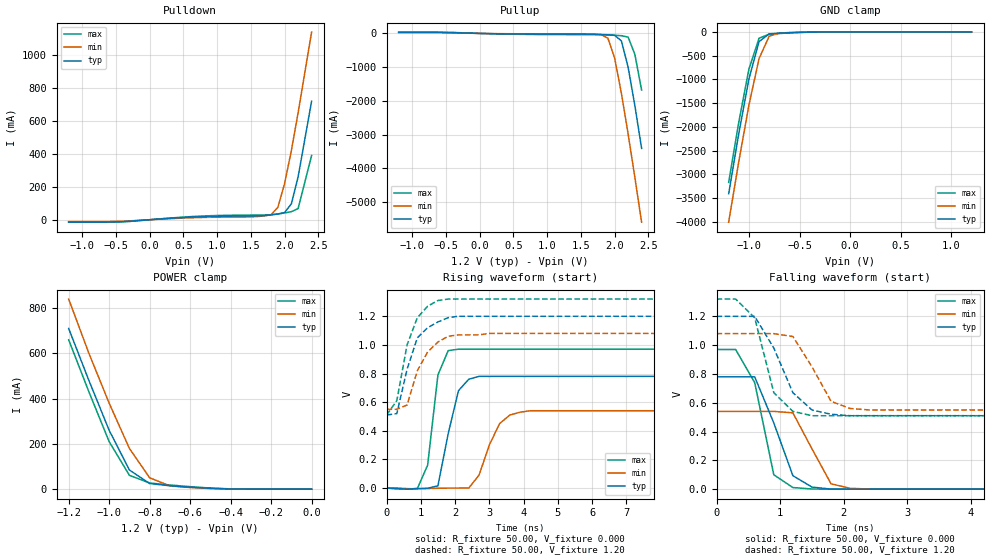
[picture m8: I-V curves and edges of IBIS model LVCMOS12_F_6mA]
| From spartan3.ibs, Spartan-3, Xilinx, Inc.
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|   Model LVCMOS12_F_6mA
[Model]   LVCMOS12_F_6mA
Model_type   I/O
Polarity   Non-Inverting
Enable   Active-Low
Vinl =   0.44V
Vinh =   0.70V
Vmeas =   0.60V
Cref =  0.000F
Rref =   1.00M
Vref =  0.000V
C_comp   6.38pF   4.60pF   8.23pF
[Temperature Range]   25.00   85.00   0.000
[Voltage Range]   1.20V   1.08V   1.32V
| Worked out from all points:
|   slope of the pulldown table from 0 to 0.18 V, typ, clamps not added: 33.8 ohm
|   slope of the pullup table from 0 to 0.18 V, typ, clamps not added: 22.2 ohm
|   GND clamp passes 1 mA (typ) near -0.39 V on its own axis
|   POWER clamp passes 1 mA (typ) near -0.41 V on its own axis
|   rising waveform, R_fixture 50.00, V_fixture 0.000: 20-80 % time 428ps typ, 539ps min, 277ps max; typ from 0 V to 0.78 V
|   rising waveform, R_fixture 50.00, V_fixture 1.20: 20-80 % time 528ps typ, 608ps min, 502ps max; typ from 0.51 V to 1.2 V
|   falling waveform, R_fixture 50.00, V_fixture 0.000: 20-80 % time 403ps typ, 395ps min, 303ps max; typ from 0.78 V to 0 V
|   falling waveform, R_fixture 50.00, V_fixture 1.20: 20-80 % time 467ps typ, 420ps min, 280ps max; typ from 1.2 V to 0.51 V
[Pulldown]
| voltage   I(typ)   I(min)   I(max)
-1.2V     -13.97mA   -11.12mA   -14.97mA
-400mV    -11.63mA   -8.96mA    -12.99mA
700mV     17.32mA    12.83mA    20.89mA
1.5V      22.85mA    17.34mA    28.25mA
1.8V      29.03mA    31.1mA     30.48mA
1.9V      34.85mA    75.16mA    34.74mA
2V        43.66mA    220mA      41.06mA
2.1V      96.31mA    420mA      48.8mA
2.2V      260mA      650mA      67.63mA
2.4V      720mA      1.14A      390mA
[Pullup]
| voltage   I(typ)   I(min)   I(max)
-1.2V     32.89mA    23.65mA    39.15mA
-500mV    27.14mA    20.1mA     32.65mA
500mV     -17.14mA   -10.5mA    -24.82mA
1.6V      -24.15mA   -17.52mA   -37.2mA
1.8V      -32.37mA   -35.6mA    -40.18mA
1.9V      -41.08mA   -140mA     -46.32mA
2V        -56.15mA   -730mA     -55.87mA
2.1V      -220mA     -1.77A     -67.94mA
2.2V      -1A        -2.98A     -110mA
2.3V      -2.14A     -4.27A     -620mA
2.4V      -3.41A     -5.6A      -1.68A
[GND_clamp]
| voltage   I(typ)   I(min)   I(max)
-1.2V     -3.41A     -4.01A     -3.17A
-1.1V     -2.14A     -2.73A     -1.9A
-1V       -990mA     -1.54A     -780mA
-900mV    -200mA     -560mA     -130mA
-800mV    -38.06mA   -87.25mA   -43.83mA
-700mV    -22.33mA   -20.33mA   -29.9mA
-500mV    -5.24mA    -4.01mA    -8.75mA
1.2V      7.72nA     970nA      7.18nA
[POWER_clamp]
| voltage   I(typ)   I(min)   I(max)
-1.2V     710mA      840mA      660mA
-1.1V     480mA      600mA      430mA
-1V       260mA      380mA      210mA
-900mV    84.79mA    180mA      61.19mA
-800mV    24.88mA    50.29mA    27.26mA
-700mV    15.03mA    14.55mA    18.43mA
-600mV    8.66mA     7.1mA      11.09mA
-400mV    790uA      730uA      1.23mA
0V        7.72nA     40.92nA    11.22nA
[Ramp]
| variable   typ   min   max
dV/dt_r   0.47/0.36n   0.32/0.52n   0.58/0.26n
dV/dt_f   0.41/0.32n   0.32/0.43n   0.49/0.28n
R_load = 50.00
[Rising Waveform]
R_fixture = 50.00
V_fixture = 0.000
| time   V(typ)   V(min)   V(max)
0s        0V         1.34uV     0V
900ps     -3.21mV    -6.21mV    -3.55mV
1.2ns     -1.61mV    -3.27mV    160mV
1.5ns     15.55mV    -1.46mV    790mV
1.8ns     380mV      -490uV     960mV
2.1ns     680mV      -140uV     970mV
2.4ns     760mV      110uV      970mV
3.3ns     780mV      450mV      970mV
3.9ns     780mV      530mV      970mV
15ns      780mV      540mV      970mV
[Rising Waveform]
R_fixture = 50.00
V_fixture = 1.20
V_fixture_min = 1.08
V_fixture_max = 1.32
| time   V(typ)   V(min)   V(max)
0s        510mV      550mV      510mV
300ps     520mV      550mV      610mV
600ps     830mV      580mV      1V
900ps     1.05V      820mV      1.19V
1.2ns     1.12V      950mV      1.27V
1.5ns     1.16V      1.02V      1.31V
1.8ns     1.19V      1.06V      1.32V
2.1ns     1.2V       1.07V      1.32V
3ns       1.2V       1.08V      1.32V
15ns      1.2V       1.08V      1.32V
[Falling Waveform]
R_fixture = 50.00
V_fixture = 0.000
| time   V(typ)   V(min)   V(max)
0s        780mV      540mV      970mV
300ps     780mV      540mV      970mV
600ps     780mV      540mV      740mV
900ps     460mV      540mV      99.91mV
1.2ns     93.43mV    530mV      11.28mV
1.5ns     14.38mV    280mV      1.16mV
1.8ns     400uV      37.2mV     19.56uV
2.1ns     -30.12uV   5.95mV     -5.08uV
2.7ns     -1.69uV    32.63uV    -680nV
15ns      0V         1.26uV     0V
[Falling Waveform]
R_fixture = 50.00
V_fixture = 1.20
V_fixture_min = 1.08
V_fixture_max = 1.32
| time   V(typ)   V(min)   V(max)
0s        1.2V       1.08V      1.32V
300ps     1.2V       1.08V      1.32V
600ps     1.2V       1.08V      1.19V
900ps     980mV      1.08V      670mV
1.2ns     670mV      1.06V      540mV
1.5ns     550mV      850mV      510mV
1.8ns     520mV      610mV      510mV
2.1ns     510mV      560mV      510mV
2.4ns     510mV      550mV      510mV
15ns      510mV      550mV      510mV
